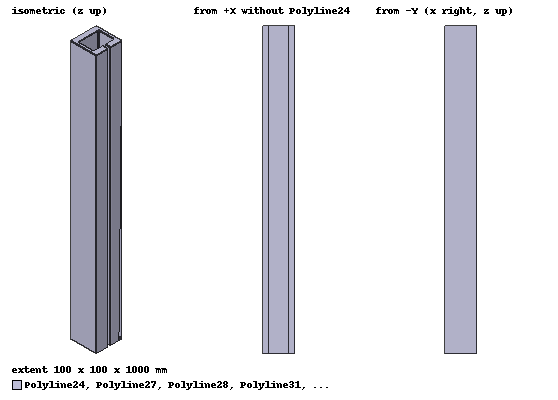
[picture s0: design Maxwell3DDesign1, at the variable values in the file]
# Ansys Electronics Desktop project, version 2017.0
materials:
  vacuum: permittivity=1
  copper: permeability=0.999991 conductivity=58000000

design Maxwell3DDesign1 (Maxwell 3D, Magnetostatic, model units mm)
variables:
  pitch = 5cm
  length = 1meter
  width = 1meter
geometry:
  Polyline1 = polyline(z=100cm, xy in cm: (-0.5, 3) (-0.5, 5) (-5, 5) (-5, -5) (5, -5) (5, 5) (0.5, 5) (0.5, 3) (4, 3) (4, -3) (-4, -3) (-4, 3) (-0.5, 3), closed, covered)
  Polyline23 = polyline(z=0mm, xy in mm: (5, 50) (50, 50) (50, -50) (-50, -50) (-50, 50) (-5, 50) (-5, 30) (-40, 30) (-40, -30) (40, -30) (40, 30) (5, 30) (5, 50), closed, covered)
  Polyline24 = polyline(x=50mm, yz in mm: (50, 1000) (50, 0) (-50, 0) (-50, 1000) (50, 1000), closed, covered)
  Polyline25 = polyline(y=50mm, xz in mm: (50, 1000) (50, 0) (5, 0) (5, 1000) (50, 1000), closed, covered)
  Polyline26 = polyline(y=50mm, xz in mm: (-5, 1000) (-5, 0) (-38.75, 0) (-50, 1000) (-5, 1000), closed, covered)
  Polyline27 = polyline(y=-50mm, xz in mm: (50, 1000) (50, 0) (-50, 0) (-50, 1000) (50, 1000), closed, covered)
  Polyline28 = polyline(x=-50mm, yz in mm: (-50, 1000) (-50, 0) (50, 0) (50, 1000) (-50, 1000), closed, covered)
  Polyline29 = polyline(x=40mm, yz in mm: (30, 1000) (30, 0) (-30, 0) (-30, 1000) (30, 1000), closed, covered)
  Polyline30 = polyline(x=-40mm, yz in mm: (30, 1000) (30, 0) (-30, 0) (-30, 1000) (30, 1000), closed, covered)
  Polyline31 = polyline(y=-30mm, xz in mm: (40, 1000) (40, 0) (-40, 0) (-40, 1000) (40, 1000), closed, covered)
  Polyline32 = polyline(y=30mm, xz in mm: (40, 1000) (40, 0) (5, 0) (5, 1000) (40, 1000), closed, covered)
  Polyline33 = polyline(y=30mm, xz in mm: (-5, 1000) (-5, 0) (-40, 0) (-40, 1000) (-5, 1000), closed, covered)
  Polyline34 = polyline(x=-5mm, yz in mm: (50, 1000) (50, 0) (30, 0) (30, 1000) (50, 1000), closed, covered)
  Polyline35 = polyline(x=5mm, yz in mm: (50, 1000) (50, 0) (30, 0) (30, 1000) (50, 1000), closed, covered)
  group Polyline_Group = Polyline1

design Maxwell2DDesign1 (Maxwell 2D, Magnetostatic, XY geometry, model units mm)
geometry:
  Polyline1 [vacuum] = polyline(z=0mm, xy in mm: (1, 0.2) (0.6, 0.2) (0.6, 0.9) (-0.6, 0.9) (-0.6, -0.6) (0.6, -0.6) (0.6, 0) (1, 0) (1, -0.9) (-1, -0.9) (-1, 1.1) (1, 1.1) (1, 0.2), closed, covered)
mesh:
  initial mesh: MeshMethod=AnsoftClassic
